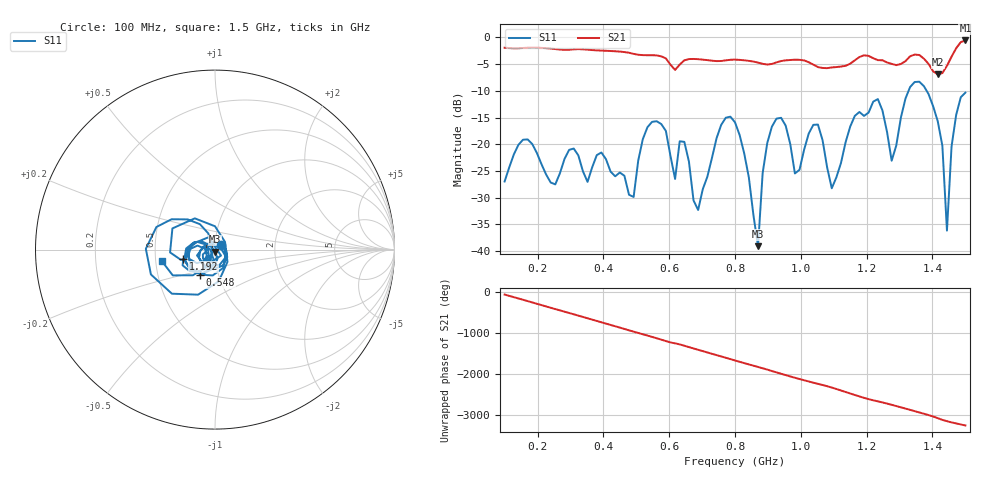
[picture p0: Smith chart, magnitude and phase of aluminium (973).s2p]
! NanoVNA-App
! Date: 2025-09-25 15:02:51
! Start: 100MHz Stop: 1,5GHz Points: 101
! S-Parameter data: F S11 S21 S12 S22
# Hz S RI R 50
!  Frequency  S11_Real  S11_Imag  S21_Real  S21_Imag  S12_Real  S12_Imag  S22_Real  S22_Imag
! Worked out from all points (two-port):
!   101 points, 100 MHz to 1.5 GHz, reference 50 ohm
!   highest |S21| = -0.56 dB at 1.5 GHz (marker M1); lowest = -6.9 dB at 1.416 GHz (marker M2)
!   |S21| within 3 dB of the highest: start of sweep to 576.9 MHz; 1.331 GHz to 1.366 GHz (34.3 MHz wide, 2.54 % of centre) (the widest 2 of 4)
!   lowest |S11| = -39.1 dB at 870 MHz (marker M3), VSWR 1.02, Z = 50.2 - j1.1 ohm
!   |S11| at or under -10 dB: start of sweep to 1.327 GHz; 1.382 GHz to end of sweep
!   S12 and S22 are empty: the file has one direction only
!   S11 on the Smith chart (normalised r, x): 100 MHz: 1.07, +0.06; 548 MHz: 0.82, -0.24; 1.192 GHz: 0.70, -0.08; 1.5 GHz: 0.54, -0.07
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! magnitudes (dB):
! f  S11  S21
! 100 MHz  -27.0  -1.9
! 156 MHz  -19.1  -2.0
! 338 MHz  -25.1  -2.2
! 492 MHz  -29.9  -3.1
! 548 MHz  -15.8  -3.3
! 576 MHz  -16.2  -3.5
! 646 MHz  -19.5  -4.3
! 688 MHz  -32.3  -4.1
! 800 MHz  -15.9  -4.1
! 870 MHz  -39.1  -4.7
! 912 MHz  -16.7  -5.0
! 982 MHz  -25.5  -4.2
! 1.038 GHz  -16.4  -5.1
! 1.094 GHz  -28.2  -5.6
! 1.192 GHz  -14.7  -3.3
! 1.234 GHz  -11.5  -4.2
! 1.276 GHz  -23.1  -4.9
! 1.346 GHz  -8.3  -3.2
! 1.416 GHz  -15.7  -6.9
! 1.444 GHz  -36.1  -5.3
! 1.458 GHz  -20.4  -3.6
! 1.5 GHz  -10.3  -0.6
